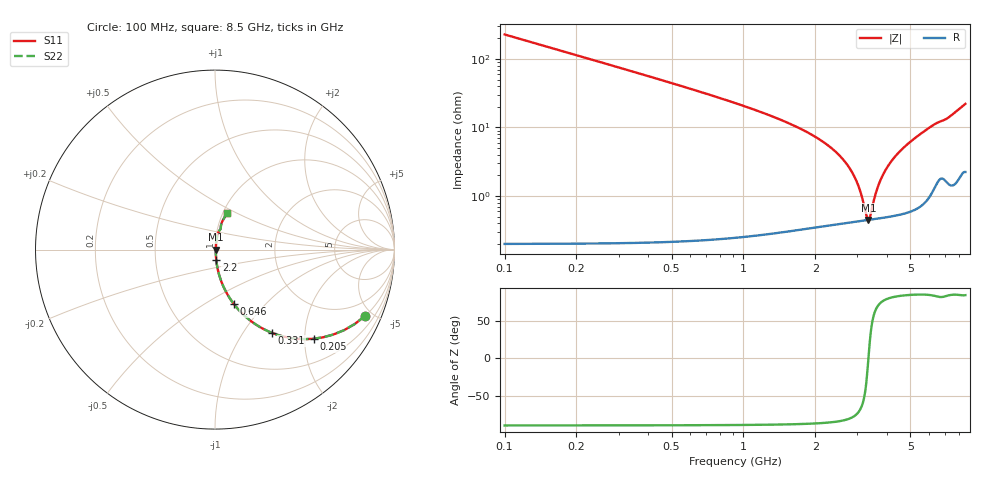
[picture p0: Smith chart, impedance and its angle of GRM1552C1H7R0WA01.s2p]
!Murata Part Number: GRM1552C1H7R0WA01
!These Parameters are Measured in Series Mode Connection
!Data Generated on Mar 30, 2021
!  o--ll--o
!Port1  Port2
!  o------o
!Operation Temp=25[degC], DC Bias Voltage=0[V]
!Freq. Start=100[MHz] Stop=9[GHz] 401[Steps]
# Hz S RI R 50
!Freq.(Hz) S11(Real) S11(Imag) S21(Real) S21(Imag) S12(Real) S12(Imag) S22(Real) S22(Imag)
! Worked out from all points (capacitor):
!   401 points, 100 MHz to 8.5 GHz, reference 50 ohm
!   read as one part in series: C = 7 pF near 142 MHz
!   lowest |Z| = 449 mohm at 3.334 GHz (marker M1)
!   series resonance near 3.337 GHz, so ESL is about 320 pH
!   S11 on the Smith chart (normalised r, x): 100 MHz: 1.00, -4.54; 205 MHz: 1.00, -2.21; 331 MHz: 1.00, -1.36; 646 MHz: 1.00, -0.68; 2.2 GHz: 1.01, -0.12; 8.5 GHz: 1.04, +0.44
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1e8  0.8374 -0.3685  0.1626 0.3685  0.1626 0.3685  0.8374 -0.3685
2.05e8  0.5496 -0.4966  0.4504 0.4966  0.4504 0.4966  0.5496 -0.4966
3.31e8  0.3168 -0.4637  0.6832 0.4637  0.6832 0.4637  0.3168 -0.4637
4.57e8  0.1935 -0.3928  0.8065 0.3928  0.8065 0.3928  0.1935 -0.3928
6.46e8  0.1045 -0.3026  0.8955 0.3026  0.8955 0.3026  0.1045 -0.3026
1.003e9  0.043 -0.1968  0.957 0.1968  0.957 0.1968  0.043 -0.1968
1.507e9  0.0171 -0.1177  0.9829 0.1177  0.9829 0.1177  0.0171 -0.1177
2.2e9  0.00704 -0.0581  0.993 0.0581  0.993 0.0581  0.00704 -0.0581
2.62e9  0.00509 -0.0333  0.9949 0.0333  0.9949 0.0333  0.00509 -0.0333
2.914e9  0.00453 -0.0187  0.9955 0.0187  0.9955 0.0187  0.00453 -0.0187
3.061e9  0.00443 -0.0119  0.9956 0.0119  0.9956 0.0119  0.00443 -0.0119
3.271e9  0.00443 -0.00278  0.9956 0.00278  0.9956 0.00278  0.00443 -0.00278
3.334e9  0.00446 -0.000144  0.9955 0.000144  0.9955 0.000144  0.00446 -0.000144
3.397e9  0.00451 0.00245  0.9955 -0.00245  0.9955 -0.00245  0.00451 0.00245
3.607e9  0.00476 0.0108  0.9952 -0.0108  0.9952 -0.0108  0.00476 0.0108
3.754e9  0.00501 0.0165  0.995 -0.0165  0.995 -0.0165  0.00501 0.0165
3.985e9  0.00553 0.0251  0.9945 -0.0251  0.9945 -0.0251  0.00553 0.0251
4.3e9  0.00646 0.0364  0.9935 -0.0364  0.9935 -0.0364  0.00646 0.0364
4.888e9  0.00898 0.0568  0.991 -0.0568  0.991 -0.0568  0.00898 0.0568
5.707e9  0.0152 0.0855  0.9848 -0.0855  0.9848 -0.0855  0.0152 0.0855
7.114e9  0.0324 0.1279  0.9676 -0.1279  0.9676 -0.1279  0.0324 0.1279
8.5e9  0.0653 0.2013  0.9347 -0.2013  0.9347 -0.2013  0.0653 0.2013
